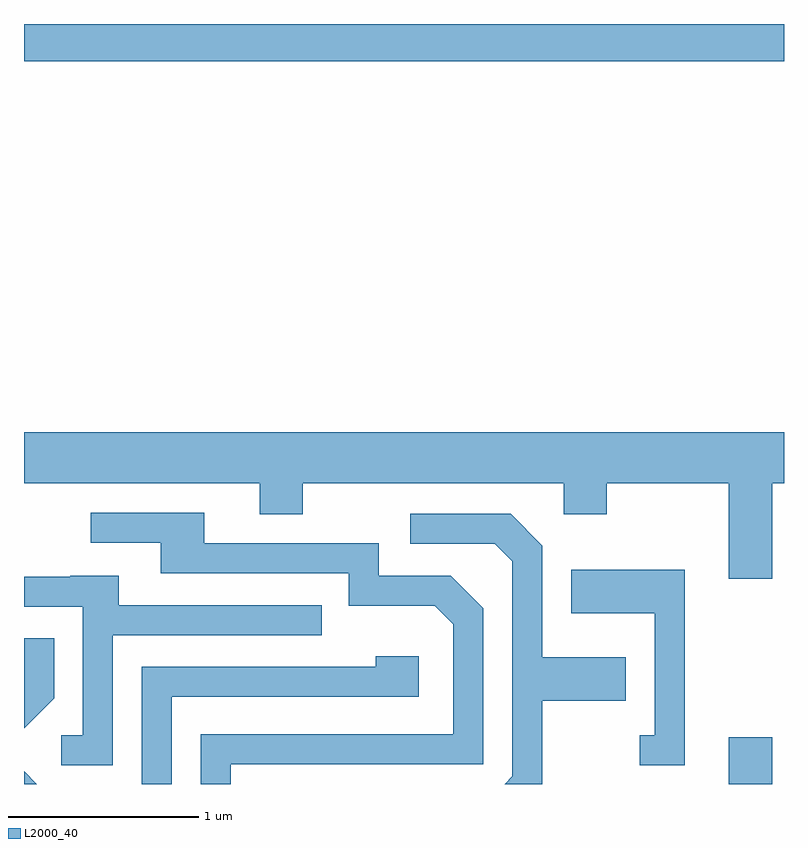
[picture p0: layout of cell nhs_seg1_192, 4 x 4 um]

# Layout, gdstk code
import gdstk
lib = gdstk.Library(unit=1e-6, precision=1e-09)
def R(c, l, rs):  # rectangles x0, y0, x1, y1
    for r in rs: c.add(gdstk.rectangle(r[:2], r[2:], *l))
def P(c, l, *ps):  # polygons
    for p in ps: c.add(gdstk.Polygon(p, *l))
L2000_40 = (2000, 40)

nhs_seg1_192 = lib.new_cell('nhs_seg1_192')
R(nhs_seg1_192, L2000_40, [(193.321,955.712,193.549,955.959), (189.611,959.516,193.611,959.712)])
P(nhs_seg1_192, L2000_40, [(193.549,957.296),(193.611,957.296),(193.611,957.564),(189.611,957.564),(189.611,957.296),(190.851,957.296),(190.851,957.131),(191.079,957.131),(191.079,957.296),(192.451,957.296),(192.451,957.131),(192.679,957.131),(192.679,957.296),(193.321,957.296),(193.321,956.791),(193.549,956.791)],
  [(190.699,955.816),(192.029,955.816),(192.029,956.637),(191.857,956.809),(191.479,956.809),(191.479,956.979),(190.559,956.979),(190.559,957.139),(189.963,957.139),(189.963,956.981),(190.331,956.981),(190.331,956.821),(191.321,956.821),(191.321,956.651),(191.774,956.651),(191.871,956.554),(191.871,955.974),(190.541,955.974),(190.541,955.712),(190.699,955.712)],
  [(192.339,956.151),(192.779,956.151),(192.779,956.379),(192.339,956.379),(192.339,956.967),(192.172,957.134),(191.643,957.134),(191.643,956.976),(192.089,956.976),(192.181,956.884),(192.181,955.752),(192.141,955.712),(192.339,955.712)],
  [(193.089,956.839),(192.491,956.839),(192.491,956.611),(192.931,956.611),(192.931,955.969),(192.853,955.969),(192.853,955.811),(193.089,955.811)],
  [(190.079,956.496),(191.178,956.496),(191.178,956.654),(190.109,956.654),(190.109,956.809),(189.855,956.809),(189.855,956.804),(189.611,956.804),(189.611,956.646),(189.921,956.646),(189.921,955.969),(189.808,955.969),(189.808,955.811),(190.079,955.811)],
  [(189.769,956.164),(189.769,956.478),(189.611,956.478),(189.611,956.005)],
  [(190.389,956.171),(191.689,956.171),(191.689,956.384),(191.461,956.384),(191.461,956.329),(190.231,956.329),(190.231,955.712),(190.389,955.712)],
  [(189.611,955.78),(189.611,955.712),(189.679,955.712)])

lib.write_gds('nhs_seg1_192.gds')
